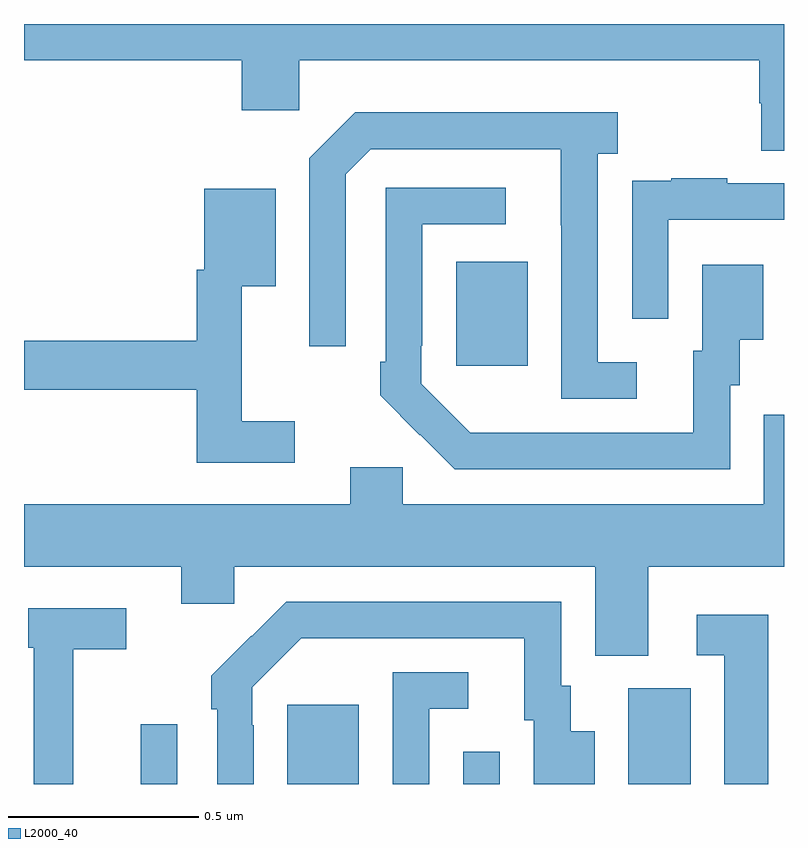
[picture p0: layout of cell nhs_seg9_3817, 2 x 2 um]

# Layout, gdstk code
import gdstk
lib = gdstk.Library(unit=1e-6, precision=1e-09)
def R(c, l, rs):  # rectangles x0, y0, x1, y1
    for r in rs: c.add(gdstk.rectangle(r[:2], r[2:], *l))
def P(c, l, *ps):  # polygons
    for p in ps: c.add(gdstk.Polygon(p, *l))
L2000_40 = (2000, 40)

nhs_seg9_3817 = lib.new_cell('nhs_seg9_3817')
R(nhs_seg9_3817, L2000_40, [(158.307,1210.5,158.403,1210.657), (158.693,1210.5,158.881,1210.708), (159.156,1210.5,159.252,1210.585), (159.59,1210.5,159.754,1210.752), (159.137,1211.601,159.325,1211.875)])
P(nhs_seg9_3817, L2000_40, [(160,1212.5),(158,1212.5),(158,1212.404),(158.573,1212.404),(158.573,1212.273),(158.724,1212.273),(158.724,1212.404),(159.935,1212.404),(159.935,1212.291),(159.94,1212.291),(159.94,1212.166),(160,1212.166)],
  [(159.613,1211.61),(159.51,1211.61),(159.51,1212.158),(159.562,1212.158),(159.562,1212.268),(158.872,1212.268),(158.751,1212.147),(158.751,1211.652),(158.847,1211.652),(158.847,1212.105),(158.913,1212.171),(159.413,1212.171),(159.413,1211.971),(159.414,1211.971),(159.414,1211.514),(159.613,1211.514)],
  [(159.696,1211.985),(160,1211.985),(160,1212.081),(159.851,1212.081),(159.851,1212.094),(159.703,1212.094),(159.703,1212.087),(159.601,1212.087),(159.601,1211.978),(159.6,1211.978),(159.6,1211.724),(159.696,1211.724)],
  [(159.858,1211.55),(159.883,1211.55),(159.883,1211.669),(159.946,1211.669),(159.946,1211.866),(159.785,1211.866),(159.785,1211.64),(159.761,1211.64),(159.761,1211.424),(159.277,1211.424),(159.277,1211.425),(159.174,1211.425),(159.045,1211.553),(159.045,1211.653),(159.048,1211.653),(159.048,1211.973),(159.268,1211.973),(159.268,1212.069),(158.952,1212.069),(158.952,1211.611),(158.937,1211.611),(158.937,1211.523),(159.042,1211.418),(159.043,1211.419),(159.134,1211.328),(159.858,1211.328)],
  [(158.713,1211.455),(158.573,1211.455),(158.573,1211.81),(158.662,1211.81),(158.662,1212.067),(158.474,1212.067),(158.474,1211.853),(158.455,1211.853),(158.455,1211.666),(158,1211.666),(158,1211.538),(158.455,1211.538),(158.455,1211.346),(158.713,1211.346)],
  [(159.643,1211.072),(160,1211.072),(160,1211.472),(159.947,1211.472),(159.947,1211.236),(158.997,1211.236),(158.997,1211.334),(158.858,1211.334),(158.858,1211.236),(158,1211.236),(158,1211.072),(158.414,1211.072),(158.414,1210.974),(158.553,1210.974),(158.553,1211.072),(159.503,1211.072),(159.503,1210.837),(159.643,1210.837)],
  [(158.604,1210.655),(158.601,1210.655),(158.601,1210.755),(158.73,1210.884),(159.317,1210.884),(159.317,1210.668),(159.341,1210.668),(159.341,1210.5),(159.502,1210.5),(159.502,1210.639),(159.439,1210.639),(159.439,1210.758),(159.414,1210.758),(159.414,1210.98),(158.69,1210.98),(158.599,1210.889),(158.598,1210.89),(158.493,1210.785),(158.493,1210.697),(158.508,1210.697),(158.508,1210.5),(158.604,1210.5)],
  [(158.129,1210.854),(158.269,1210.854),(158.269,1210.962),(158.011,1210.962),(158.011,1210.859),(158.026,1210.859),(158.026,1210.5),(158.129,1210.5)],
  [(159.959,1210.945),(159.771,1210.945),(159.771,1210.839),(159.843,1210.839),(159.843,1210.5),(159.959,1210.5)],
  [(159.066,1210.698),(159.169,1210.698),(159.169,1210.794),(158.97,1210.794),(158.97,1210.5),(159.066,1210.5)])

lib.write_gds('nhs_seg9_3817.gds')
